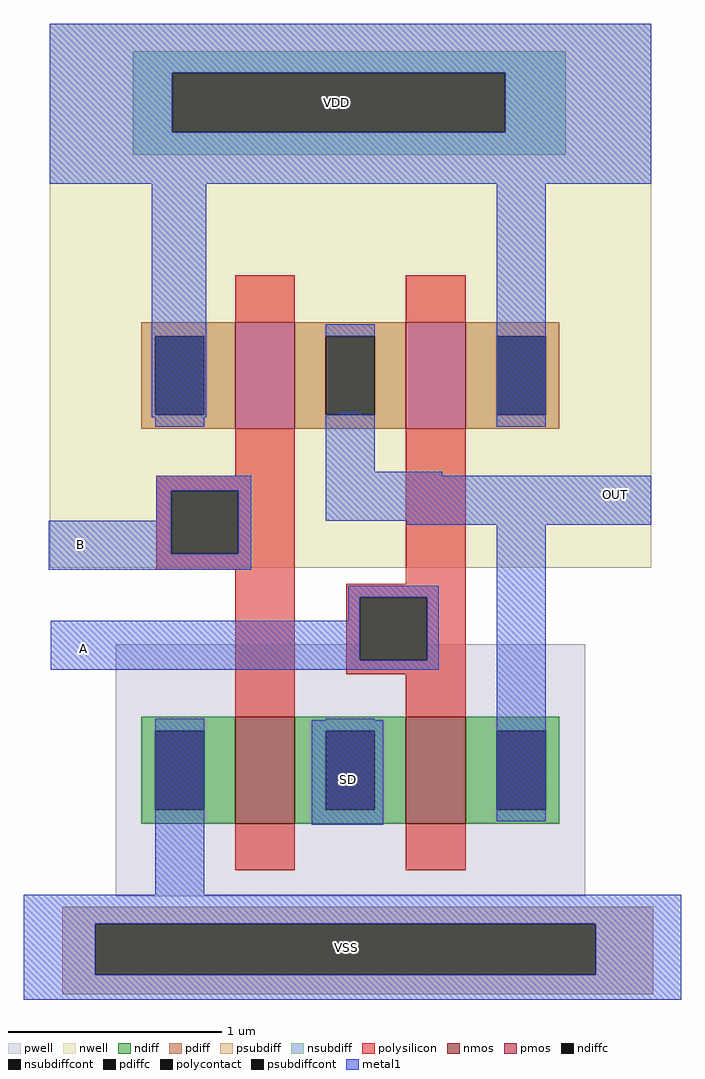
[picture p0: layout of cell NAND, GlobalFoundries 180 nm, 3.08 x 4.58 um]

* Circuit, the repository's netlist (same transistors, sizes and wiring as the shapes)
* NGSPICE file created from NAND.ext - technology: gf180mcuC

.subckt pmos_3p3_M8RWPS a_n28_n94# w_n202_n180# a_n116_n50# a_28_n50#
X0 a_28_n50# a_n28_n94# a_n116_n50# w_n202_n180# pfet_03v3 ad=0.22p pd=1.88u as=0.22p ps=1.88u w=0.5u l=0.28u
.ends

.subckt nmos_3p3_HZS5UA a_n28_n94# a_n116_n50# a_28_n50# VSUBS
X0 a_28_n50# a_n28_n94# a_n116_n50# VSUBS nfet_03v3 ad=0.22p pd=1.88u as=0.22p ps=1.88u w=0.5u l=0.28u
.ends

.subckt NAND VDD VSS B A OUT
Xpmos_3p3_M8RWPS_0 A VDD VDD OUT pmos_3p3_M8RWPS
Xpmos_3p3_M8RWPS_1 B VDD VDD OUT pmos_3p3_M8RWPS
Xnmos_3p3_HZS5UA_0 A m1_184_67# OUT VSS nmos_3p3_HZS5UA
Xnmos_3p3_HZS5UA_1 B VSS m1_184_67# VSS nmos_3p3_HZS5UA
.ends

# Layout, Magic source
magic
tech gf180mcuC
magscale 1 10
<< nwell >>
rect -62 668 502 818
rect 243 394 306 398
rect 38 393 127 394
rect 38 332 125 393
rect 243 392 403 394
rect 310 379 476 380
rect 310 352 502 379
rect 272 348 502 352
rect 272 346 328 348
rect 357 346 502 348
rect 112 322 122 332
rect 310 328 502 346
<< pwell >>
rect 229 280 289 281
rect 229 221 292 280
rect 87 211 218 212
rect 303 211 416 212
<< psubdiff >>
rect -50 -26 504 -10
rect -50 -74 -19 -26
rect 450 -74 504 -26
rect -50 -92 504 -74
<< nsubdiff >>
rect 16 772 422 792
rect 16 716 53 772
rect 365 716 422 772
rect 16 695 422 716
<< psubdiffcont >>
rect -19 -74 450 -26
<< nsubdiffcont >>
rect 53 716 365 772
<< polysilicon >>
rect 38 380 168 394
rect 38 321 52 380
rect 115 321 168 380
rect 38 306 168 321
rect 112 212 168 306
rect 272 293 328 394
rect 216 280 328 293
rect 216 221 229 280
rect 292 221 328 280
rect 216 212 328 221
rect 216 208 303 212
<< polycontact >>
rect 52 321 115 380
rect 229 221 292 280
<< metal1 >>
rect -62 772 502 818
rect -62 716 53 772
rect 365 716 502 772
rect -62 668 502 716
rect 34 449 85 668
rect 209 447 230 454
rect 197 440 242 447
rect 357 440 403 668
rect 197 398 243 440
rect 197 394 306 398
rect 38 380 127 394
rect 38 352 52 380
rect -63 321 52 352
rect 115 321 127 380
rect 197 352 502 394
rect 273 348 502 352
rect -63 306 127 321
rect 218 280 303 291
rect 218 258 229 280
rect -61 221 229 258
rect 292 221 303 280
rect -61 212 303 221
rect 37 1 83 166
rect 184 67 251 165
rect 357 70 403 348
rect -86 -26 530 1
rect -86 -74 -19 -26
rect 450 -74 530 -26
rect -86 -97 530 -74
use nmos_3p3_HZS5UA  nmos_3p3_HZS5UA_0
transform 1 0 300 0 1 118
box -140 -118 140 118
use nmos_3p3_HZS5UA  nmos_3p3_HZS5UA_1
transform 1 0 140 0 1 118
box -140 -118 140 118
use pmos_3p3_M8RWPS  pmos_3p3_M8RWPS_0
transform -1 0 300 0 1 488
box -202 -180 202 180
use pmos_3p3_M8RWPS  pmos_3p3_M8RWPS_1
transform 1 0 140 0 1 488
box -202 -180 202 180
<< labels >>
flabel nsubdiffcont 207 744 207 744 0 FreeSans 320 0 0 0 VDD
port 0 nsew
flabel psubdiffcont 216 -48 216 -48 0 FreeSans 320 0 0 0 VSS
port 1 nsew
flabel metal1 -33 330 -33 330 0 FreeSans 480 0 0 0 B
port 2 nsew
flabel metal1 -30 232 -30 232 0 FreeSans 480 0 0 0 A
port 3 nsew
flabel metal1 469 376 469 376 0 FreeSans 480 0 0 0 OUT
port 4 nsew
flabel metal1 218 109 218 109 0 FreeSans 480 0 0 0 SD
port 5 nsew
<< end >>

# cell nmos_3p3_HZS5UA: kit device nmos_3p3, w 0.50 l 0.280 m 1 nf 1 diffcov 100 polycov 100 guard 0 glc 0 grc 0 gtc 0 gbc 0 tbcov 100 rlcov 100 topc 0 botc 0 poverlap 0 doverlap 1 lmin 0.28 wmin 0.22 full_metal 0 compatible {nmos_3p3 nmos_6p0 nmos_6p0_nat}

# cell pmos_3p3_M8RWPS: kit device pmos_3p3, w 0.50 l 0.280 m 1 nf 1 diffcov 100 polycov 100 guard 0 glc 0 grc 0 gtc 0 gbc 0 tbcov 100 rlcov 100 topc 0 botc 0 poverlap 0 doverlap 1 lmin 0.28 wmin 0.22 full_metal 0 compatible {pmos_3p3 pmos_6p0}
